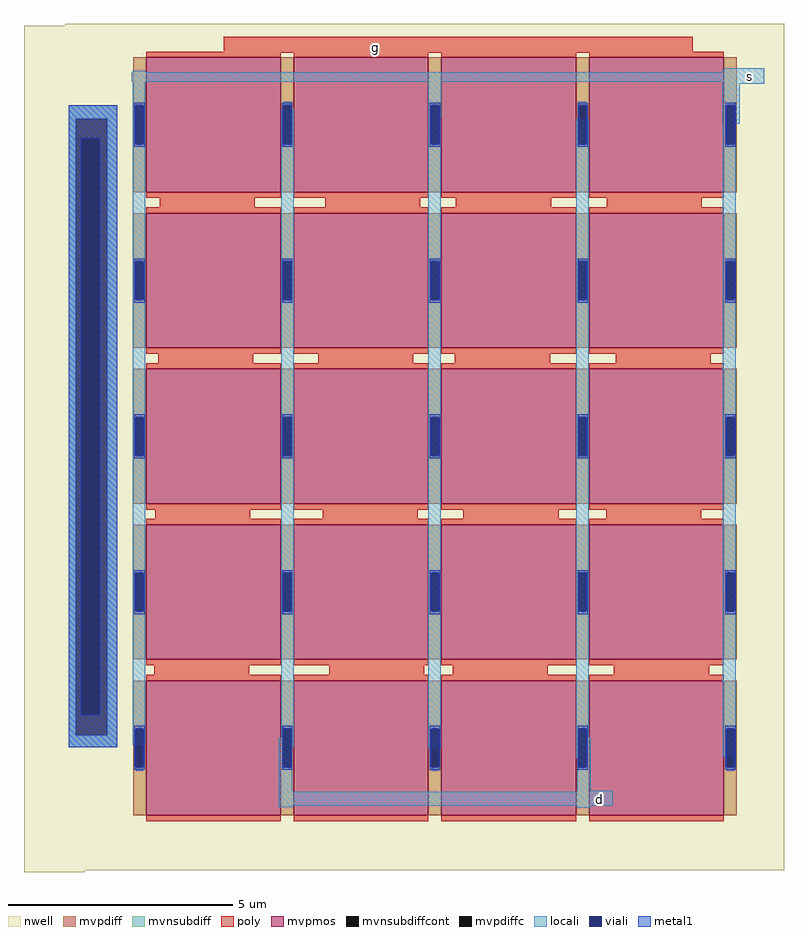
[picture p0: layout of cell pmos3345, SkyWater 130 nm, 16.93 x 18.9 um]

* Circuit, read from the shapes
.subckt pmos3345 d g s
XM1 d g s n1 sky130_fd_pr__pfet_g5v0d10v5 w=3 l=3 m=20
.ends

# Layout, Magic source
magic
tech sky130A
magscale 1 2
<< nwell >>
rect -266 3580 2936 3588
rect -450 -184 2936 3580
rect -450 -192 -180 -184
<< mvnsubdiff >>
rect -250 3164 -34 3224
rect -250 418 -220 3164
rect -80 418 -34 3164
rect -250 364 -34 418
<< mvnsubdiffcont >>
rect -220 418 -80 3164
<< poly >>
rect 440 3460 2530 3530
rect 154 2760 578 2828
rect 892 2754 1316 2822
rect 1474 2760 1898 2828
rect 2146 2760 2570 2828
rect 148 2064 572 2132
rect 860 2064 1284 2132
rect 1470 2062 1894 2130
rect 2186 2060 2610 2128
rect 134 1366 558 1434
rect 880 1372 1304 1440
rect 1508 1366 1932 1434
rect 2144 1372 2568 1440
rect 130 676 554 744
rect 910 676 1334 744
rect 1460 670 1884 738
rect 2178 674 2602 742
<< locali >>
rect 2670 3380 2848 3390
rect 34 3372 90 3378
rect 2662 3372 2848 3380
rect 30 3330 2848 3372
rect -250 3164 -34 3224
rect -250 418 -220 3164
rect -80 418 -34 3164
rect -250 364 -34 418
rect 34 376 90 3330
rect 696 408 752 3208
rect 1352 3204 1408 3330
rect 686 364 752 408
rect 1350 3172 1408 3204
rect 2662 3320 2848 3330
rect 686 166 746 364
rect 1350 360 1406 3172
rect 2010 406 2066 3162
rect 2662 3142 2738 3320
rect 2010 318 2074 406
rect 2664 322 2720 3142
rect 2014 170 2074 318
rect 2014 166 2172 170
rect 686 104 2172 166
rect 686 98 746 104
rect 2014 96 2074 104
<< viali >>
rect -196 510 -112 3078
<< metal1 >>
rect -250 3078 -34 3224
rect -250 510 -196 3078
rect -112 510 -34 3078
rect -250 364 -34 510
use sky130_fd_pr__pfet_g5v0d10v5_6CSA4Z  sky130_fd_pr__pfet_g5v0d10v5_6CSA4Z_0
transform 1 0 1381 0 1 1750
box -1411 -1754 1411 1754
<< labels >>
flabel locali 2784 3354 2784 3354 0 FreeSans 1600 0 0 0 s
flabel locali 2116 134 2116 134 0 FreeSans 1600 0 0 0 d
flabel poly 1116 3484 1116 3484 0 FreeSans 1600 0 0 0 g
<< end >>

# cell sky130_fd_pr__pfet_g5v0d10v5_6CSA4Z: kit device sky130_fd_pr__pfet_g5v0d10v5, w 3 l 3 m 5 nf 4 diffcov 30 polycov 100 guard 0 glc 0 grc 0 gtc 0 gbc 0 tbcov 100 rlcov 100 topc 0 botc 0 poverlap 0 doverlap 1 lmin 0.50 wmin 0.42 compatible {sky130_fd_pr__pfet_01v8 sky130_fd_pr__pfet_01v8_lvt sky130_fd_pr__pfet_01v8_hvt sky130_fd_pr__pfet_g5v0d10v5} full_metal 0 viasrc 30 viadrn 30 viagate 100 viagb 0 viagr 0 viagl 0 viagt 0
